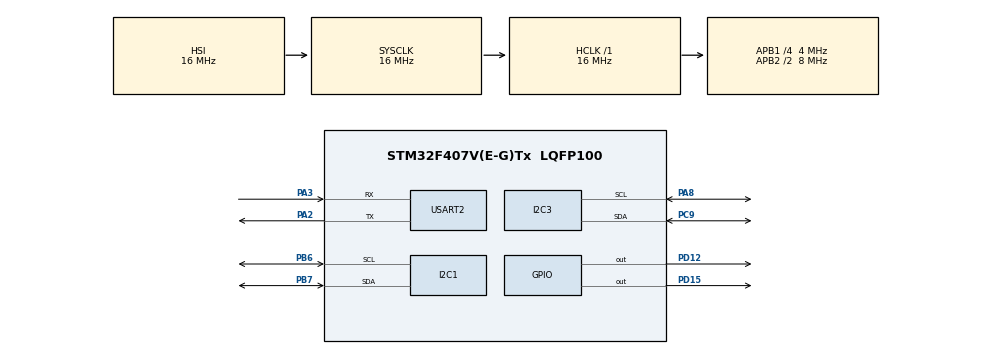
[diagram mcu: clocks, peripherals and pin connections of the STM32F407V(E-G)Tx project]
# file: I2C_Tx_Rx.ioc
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I2C3.OwnAddress=0x12
Mcu.Family=STM32F4
Mcu.Name=STM32F407V(E-G)Tx
Mcu.Package=LQFP100
NVIC.I2C1_ER_IRQn=true\:0\:0\:false\:false\:true\:true\:true\:true
NVIC.I2C1_EV_IRQn=true\:0\:0\:false\:false\:true\:true\:true\:true
NVIC.I2C3_ER_IRQn=true\:0\:0\:false\:false\:true\:true\:true\:true
NVIC.I2C3_EV_IRQn=true\:0\:0\:false\:false\:true\:true\:true\:true
NVIC.PriorityGroup=NVIC_PRIORITYGROUP_0
NVIC.USART2_IRQn=true\:0\:0\:false\:false\:true\:true\:true\:true
PA13.Mode=Serial_Wire
PA13.Signal=SYS_JTMS-SWDIO
PA14.Mode=Serial_Wire
PA14.Signal=SYS_JTCK-SWCLK
PA2.Mode=Asynchronous
PA2.Signal=USART2_TX
PA3.Mode=Asynchronous
PA3.Signal=USART2_RX
PA8.GPIO_Pu=GPIO_PULLUP
PA8.Mode=I2C
PA8.Signal=I2C3_SCL
PB6.GPIO_Pu=GPIO_PULLUP
PB6.Mode=I2C
PB6.Signal=I2C1_SCL
PB7.GPIO_Pu=GPIO_PULLUP
PB7.Mode=I2C
PB7.Signal=I2C1_SDA
PC9.GPIO_Pu=GPIO_PULLUP
PC9.Mode=I2C
PC9.Signal=I2C3_SDA
PD12.Signal=GPIO_Output
PD15.Signal=GPIO_Output
PH0-OSC_IN.Mode=HSE-External-Oscillator
PH0-OSC_IN.Signal=RCC_OSC_IN
PH1-OSC_OUT.Mode=HSE-External-Oscillator
PH1-OSC_OUT.Signal=RCC_OSC_OUT
ProjectManager.HeapSize=0x200
ProjectManager.StackSize=0x400
ProjectManager.TargetToolchain=STM32CubeIDE
RCC.48MHZClocksFreq_Value=96000000
RCC.AHBFreq_Value=16000000
RCC.APB1CLKDivider=RCC_HCLK_DIV4
RCC.APB1Freq_Value=4000000
RCC.APB1TimFreq_Value=8000000
RCC.APB2CLKDivider=RCC_HCLK_DIV2
RCC.APB2Freq_Value=8000000
RCC.APB2TimFreq_Value=16000000
RCC.CortexFreq_Value=16000000
RCC.HCLKFreq_Value=16000000
RCC.HSE_VALUE=8000000
RCC.HSI_VALUE=16000000
RCC.PLLM=8
RCC.PLLN=336
RCC.PLLQ=7
RCC.SYSCLKFreq_VALUE=16000000
RCC.VCOOutputFreq_Value=672000000
USART2.VirtualMode=VM_ASYNC
board=STM32F407G-DISC1

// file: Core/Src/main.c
/* USER CODE BEGIN Header */
/**
  ******************************************************************************
  * @file           : main.c
  * @brief          : Main program body
  ******************************************************************************
  * @attention
  *
  * Copyright (c) 2026 STMicroelectronics.
  * All rights reserved.
  *
  * This software is licensed under terms that can be found in the LICENSE file
  * in the root directory of this software component.
  * If no LICENSE file comes with this software, it is provided AS-IS.
  *
  ******************************************************************************
  */
/* USER CODE END Header */
#include "main.h"
#define SIZE 16

I2C_HandleTypeDef hi2c1;
I2C_HandleTypeDef hi2c3;

UART_HandleTypeDef huart2;

void SystemClock_Config(void);
static void MX_GPIO_Init(void);
static void MX_I2C1_Init(void);
static void MX_I2C3_Init(void);
static void MX_USART2_UART_Init(void);

/* USER CODE BEGIN 0 */
uint8_t tx_data[2] = "A";   // Master sends 'A'
uint8_t rx_data[2];         // Slave receives 1 byte
uint8_t ok_msg[3] = "ok";   // Response
/* USER CODE END 0 */

int main(void)
{

  /* MCU Configuration--------------------------------------------------------*/

  /* Reset of all peripherals, Initializes the Flash interface and the Systick. */
  HAL_Init();

  /* Configure the system clock */
  SystemClock_Config();

  /* Initialize all configured peripherals */
  MX_GPIO_Init();
  MX_I2C1_Init();
  MX_I2C3_Init();
  MX_USART2_UART_Init();
  /* USER CODE BEGIN 2 */
  HAL_I2C_Slave_Receive_IT(&hi2c3,rx_data,SIZE);
  /* USER CODE END 2 */

  /* Infinite loop */
  while (1)
  {

    /* USER CODE BEGIN 3 */
	  	  HAL_I2C_Master_Transmit_IT(&hi2c1,0x12<<1,tx_data,1);
	  	  HAL_Delay(500);
	  	  HAL_I2C_Master_Receive_IT(&hi2c1, 0x12<<1, rx_data, 2);

	  	  HAL_UART_Transmit(&huart2, rx_data, 1, HAL_MAX_DELAY);
	  	  HAL_Delay(100);
	   }
  /* USER CODE END 3 */
}

void SystemClock_Config(void)
{
  RCC_OscInitTypeDef RCC_OscInitStruct = {0};
  RCC_ClkInitTypeDef RCC_ClkInitStruct = {0};

  /** Configure the main internal regulator output voltage
  */
  __HAL_RCC_PWR_CLK_ENABLE();
  __HAL_PWR_VOLTAGESCALING_CONFIG(PWR_REGULATOR_VOLTAGE_SCALE1);

  /** Initializes the RCC Oscillators according to the specified parameters
  * in the RCC_OscInitTypeDef structure.
  */
  RCC_OscInitStruct.OscillatorType = RCC_OSCILLATORTYPE_HSI;
  RCC_OscInitStruct.HSIState = RCC_HSI_ON;
  RCC_OscInitStruct.HSICalibrationValue = RCC_HSICALIBRATION_DEFAULT;
  RCC_OscInitStruct.PLL.PLLState = RCC_PLL_NONE;
  if (HAL_RCC_OscConfig(&RCC_OscInitStruct) != HAL_OK)
  {
    Error_Handler();
  }

  /** Initializes the CPU, AHB and APB buses clocks
  */
  RCC_ClkInitStruct.ClockType = RCC_CLOCKTYPE_HCLK|RCC_CLOCKTYPE_SYSCLK
                              |RCC_CLOCKTYPE_PCLK1|RCC_CLOCKTYPE_PCLK2;
  RCC_ClkInitStruct.SYSCLKSource = RCC_SYSCLKSOURCE_HSI;
  RCC_ClkInitStruct.AHBCLKDivider = RCC_SYSCLK_DIV1;
  RCC_ClkInitStruct.APB1CLKDivider = RCC_HCLK_DIV4;
  RCC_ClkInitStruct.APB2CLKDivider = RCC_HCLK_DIV2;

  if (HAL_RCC_ClockConfig(&RCC_ClkInitStruct, FLASH_LATENCY_0) != HAL_OK)
  {
    Error_Handler();
  }
}

static void MX_I2C1_Init(void)
{

  hi2c1.Instance = I2C1;
  hi2c1.Init.ClockSpeed = 100000;
  hi2c1.Init.DutyCycle = I2C_DUTYCYCLE_2;
  hi2c1.Init.OwnAddress1 = 0;
  hi2c1.Init.AddressingMode = I2C_ADDRESSINGMODE_7BIT;
  hi2c1.Init.DualAddressMode = I2C_DUALADDRESS_DISABLE;
  hi2c1.Init.OwnAddress2 = 0;
  hi2c1.Init.GeneralCallMode = I2C_GENERALCALL_DISABLE;
  hi2c1.Init.NoStretchMode = I2C_NOSTRETCH_DISABLE;
  if (HAL_I2C_Init(&hi2c1) != HAL_OK)
  {
    Error_Handler();
  }

}

static void MX_I2C3_Init(void)
{

  hi2c3.Instance = I2C3;
  hi2c3.Init.ClockSpeed = 100000;
  hi2c3.Init.DutyCycle = I2C_DUTYCYCLE_2;
  hi2c3.Init.OwnAddress1 = 36;
  hi2c3.Init.AddressingMode = I2C_ADDRESSINGMODE_7BIT;
  hi2c3.Init.DualAddressMode = I2C_DUALADDRESS_DISABLE;
  hi2c3.Init.OwnAddress2 = 0;
  hi2c3.Init.GeneralCallMode = I2C_GENERALCALL_DISABLE;
  hi2c3.Init.NoStretchMode = I2C_NOSTRETCH_DISABLE;
  if (HAL_I2C_Init(&hi2c3) != HAL_OK)
  {
    Error_Handler();
  }

}

static void MX_USART2_UART_Init(void)
{

  huart2.Instance = USART2;
  huart2.Init.BaudRate = 115200;
  huart2.Init.WordLength = UART_WORDLENGTH_8B;
  huart2.Init.StopBits = UART_STOPBITS_1;
  huart2.Init.Parity = UART_PARITY_NONE;
  huart2.Init.Mode = UART_MODE_TX_RX;
  huart2.Init.HwFlowCtl = UART_HWCONTROL_NONE;
  huart2.Init.OverSampling = UART_OVERSAMPLING_16;
  if (HAL_UART_Init(&huart2) != HAL_OK)
  {
    Error_Handler();
  }

}

static void MX_GPIO_Init(void)
{
  GPIO_InitTypeDef GPIO_InitStruct = {0};

  /* GPIO Ports Clock Enable */
  __HAL_RCC_GPIOH_CLK_ENABLE();
  __HAL_RCC_GPIOA_CLK_ENABLE();
  __HAL_RCC_GPIOD_CLK_ENABLE();
  __HAL_RCC_GPIOC_CLK_ENABLE();
  __HAL_RCC_GPIOB_CLK_ENABLE();

  /*Configure GPIO pin Output Level */
  HAL_GPIO_WritePin(GPIOD, GPIO_PIN_12|GPIO_PIN_15, GPIO_PIN_RESET);

  /*Configure GPIO pins : PD12 PD15 */
  GPIO_InitStruct.Pin = GPIO_PIN_12|GPIO_PIN_15;
  GPIO_InitStruct.Mode = GPIO_MODE_OUTPUT_PP;
  GPIO_InitStruct.Pull = GPIO_NOPULL;
  GPIO_InitStruct.Speed = GPIO_SPEED_FREQ_LOW;
  HAL_GPIO_Init(GPIOD, &GPIO_InitStruct);

}

/* USER CODE BEGIN 4 */
void HAL_I2C_SlaveRxCpltCallback(I2C_HandleTypeDef *hi2c)
{
    if(rx_data[0] == 'A')   // Check condition
    {
        // Send "ok" back to master
        HAL_I2C_Slave_Transmit_IT(&hi2c3, ok_msg, 2);

        // Toggle LED
        HAL_GPIO_TogglePin(GPIOD, GPIO_PIN_12);
    }

    // Restart reception
    HAL_I2C_Slave_Receive_IT(&hi2c3, rx_data, 1);
}

void HAL_I2C_MasterRxCpltCallback(I2C_HandleTypeDef *hi2c)
{
    if(rx_data[0] == 'o' && rx_data[1] == 'k')
    {
        // Print confirmation
        HAL_UART_Transmit(&huart2, rx_data, 2, HAL_MAX_DELAY);

        // Toggle LED (optional on master side)
        HAL_GPIO_TogglePin(GPIOD, GPIO_PIN_12);
    }
}
/* USER CODE END 4 */

void Error_Handler(void)
{
  __disable_irq();
  while (1)
  {
  }
}
